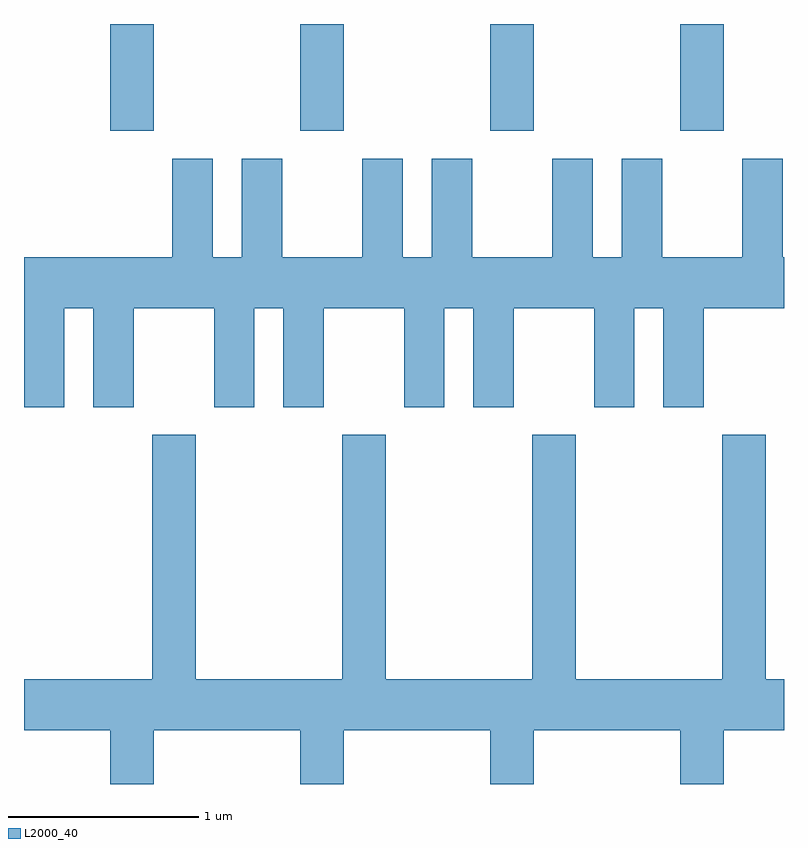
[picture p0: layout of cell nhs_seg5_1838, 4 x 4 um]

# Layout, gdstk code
import gdstk
lib = gdstk.Library(unit=1e-6, precision=1e-09)
def R(c, l, rs):  # rectangles x0, y0, x1, y1
    for r in rs: c.add(gdstk.rectangle(r[:2], r[2:], *l))
def A(c, l, x, y, w, h, nx, ny, dx, dy):  # array of equal rectangles
    R(c, l, [(x+i*dx, y+j*dy, x+i*dx+w, y+j*dy+h) for i in range(nx) for j in range(ny)])
def P(c, l, *ps):  # polygons
    for p in ps: c.add(gdstk.Polygon(p, *l))
L2000_40 = (2000, 40)

nhs_seg5_1838 = lib.new_cell('nhs_seg5_1838')
A(nhs_seg5_1838, L2000_40, 240.066, 1455.511, 0.228, 0.561, 4, 1, 1, 0)
P(nhs_seg5_1838, L2000_40, [(241.611,1454.056),(241.824,1454.056),(241.824,1454.576),(241.976,1454.576),(241.976,1454.056),(242.189,1454.056),(242.189,1454.576),(242.611,1454.576),(242.611,1454.056),(242.824,1454.056),(242.824,1454.576),(242.976,1454.576),(242.976,1454.056),(243.189,1454.056),(243.189,1454.576),(243.611,1454.576),(243.611,1454.844),(243.604,1454.844),(243.604,1455.364),(243.391,1455.364),(243.391,1454.844),(242.969,1454.844),(242.969,1455.364),(242.756,1455.364),(242.756,1454.844),(242.604,1454.844),(242.604,1455.364),(242.391,1455.364),(242.391,1454.844),(241.969,1454.844),(241.969,1455.364),(241.756,1455.364),(241.756,1454.844),(241.604,1454.844),(241.604,1455.364),(241.391,1455.364),(241.391,1454.844),(240.969,1454.844),(240.969,1455.364),(240.756,1455.364),(240.756,1454.844),(240.604,1454.844),(240.604,1455.364),(240.391,1455.364),(240.391,1454.844),(239.611,1454.844),(239.611,1454.056),(239.824,1454.056),(239.824,1454.576),(239.976,1454.576),(239.976,1454.056),(240.189,1454.056),(240.189,1454.576),(240.611,1454.576),(240.611,1454.056),(240.824,1454.056),(240.824,1454.576),(240.976,1454.576),(240.976,1454.056),(241.189,1454.056),(241.189,1454.576),(241.611,1454.576)],
  [(240.294,1452.356),(241.066,1452.356),(241.066,1452.072),(241.294,1452.072),(241.294,1452.356),(242.066,1452.356),(242.066,1452.072),(242.294,1452.072),(242.294,1452.356),(243.066,1452.356),(243.066,1452.072),(243.294,1452.072),(243.294,1452.356),(243.611,1452.356),(243.611,1452.624),(243.514,1452.624),(243.514,1453.909),(243.286,1453.909),(243.286,1452.624),(242.514,1452.624),(242.514,1453.909),(242.286,1453.909),(242.286,1452.624),(241.514,1452.624),(241.514,1453.909),(241.286,1453.909),(241.286,1452.624),(240.514,1452.624),(240.514,1453.909),(240.286,1453.909),(240.286,1452.624),(239.611,1452.624),(239.611,1452.356),(240.066,1452.356),(240.066,1452.072),(240.294,1452.072)])

lib.write_gds('nhs_seg5_1838.gds')
